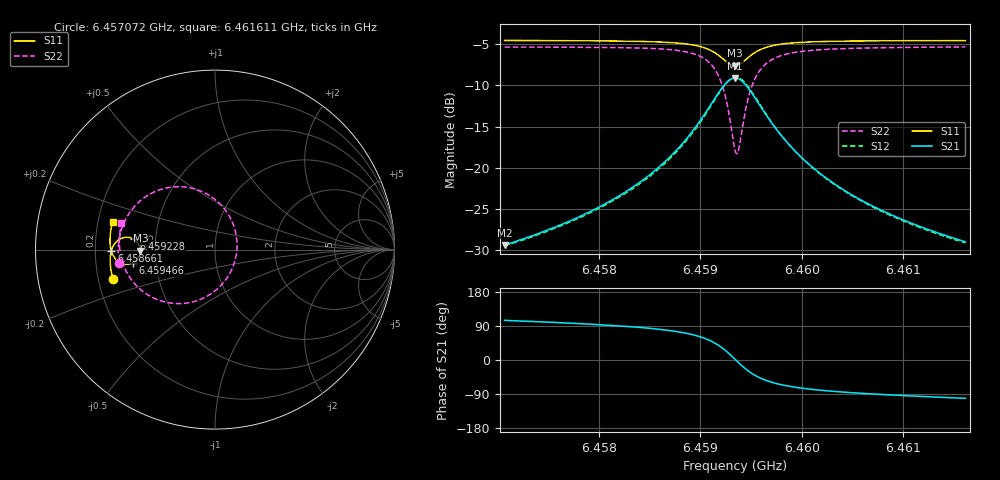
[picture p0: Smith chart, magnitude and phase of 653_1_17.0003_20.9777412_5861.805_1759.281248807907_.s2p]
#  HZ  S  RI  R  50.00
! Rohde & Schwarz Vector Network Analyzer
! Rohde-Schwarz,ZNB20-2Port,1311601062101988,3.16
! Created: UTC 3/20/2024, 11:21:19 PM
! freq[Hz]  re:S11  im:S11  re:S21  im:S21  re:S12  im:S12  re:S22  im:S22
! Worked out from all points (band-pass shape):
!   401 points, 6.457072 GHz to 6.461611 GHz, reference 50 ohm
!   highest |S21| = -9.10 dB at 6.459341 GHz (marker M1); lowest = -29.3 dB at 6.457072 GHz (marker M2)
!   |S21| within 3 dB of the highest: 6.459115 GHz to 6.459569 GHz (453.9 kHz wide, 0.00703 % of centre)
!   lowest |S11| = -7.6 dB at 6.459341 GHz (marker M3), VSWR 2.42, Z = 20.6 - j0.304 ohm
!   |S11| at or under -10 dB: nowhere
!   |S22| runs from -18.3 to -5.3 dB; largest |S21 - S12| = 0.014
!   S11 on the Smith chart (normalised r, x): 6.457072 GHz: 0.26, -0.13; 6.458661 GHz: 0.27, -0.00; 6.459228 GHz: 0.38, +0.05; 6.459466 GHz: 0.37, -0.07; 6.461611 GHz: 0.26, +0.12
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6.4570721e9  -0.5688 -0.1649  -0.00869 0.0331  -0.0067 0.0329  -0.5344 -0.0762
6.4578323e9  -0.5818 -0.098  -0.00506 0.0511  -0.00248 0.0506  -0.5385 0.0139
6.4582408e9  -0.5842 -0.0569  0.000892 0.0702  0.00411 0.0687  -0.5298 0.0791
6.4585926e9  -0.5798 -0.0146  0.0155 0.1  0.0194 0.0971  -0.5026 0.1592
6.4586607e9  -0.5774 -0.00523  0.0209 0.1083  0.0251 0.1051  -0.4922 0.1793
6.4588536e9  -0.5645 0.0252  0.0482 0.1396  0.0522 0.1343  -0.4411 0.2486
6.4590011e9  -0.5414 0.0514  0.0941 0.1698  0.0973 0.163  -0.356 0.3127
6.4591372e9  -0.4969 0.0685  0.1825 0.186  0.1832 0.1785  -0.1945 0.3504
6.459228e9  -0.4519 0.0578  0.273 0.1539  0.2733 0.1481  -0.0263 0.2984
6.4592961e9  -0.4227 0.0254  0.334 0.0809  0.3362 0.0758  0.0903 0.1668
6.4593415e9  -0.4157 -0.00609  0.3506 0.0121  0.3542 0.00525  0.1228 0.0376
6.4593755e9  -0.4196 -0.0301  0.3443 -0.0412  0.3485 -0.0502  0.1107 -0.0636
6.4594209e9  -0.4356 -0.0566  0.3153 -0.1018  0.3176 -0.1139  0.0518 -0.1787
6.4594663e9  -0.4579 -0.0733  0.2723 -0.1434  0.2716 -0.157  -0.0354 -0.2549
6.4595117e9  -0.4813 -0.0803  0.2271 -0.1659  0.2231 -0.1793  -0.1266 -0.2919
6.4595684e9  -0.5066 -0.0796  0.1767 -0.1752  0.1699 -0.1868  -0.2261 -0.3002
6.4597046e9  -0.5465 -0.0595  0.0964 -0.1598  0.0877 -0.1663  -0.3786 -0.2494
6.4598635e9  -0.5681 -0.0317  0.0512 -0.1312  0.0434 -0.134  -0.4599 -0.1753
6.4601017e9  -0.5809 0.00393  0.0218 -0.0989  0.0159 -0.0994  -0.5079 -0.0916
6.4604648e9  -0.5853 0.0473  0.00512 -0.0702  0.00116 -0.0697  -0.5296 -0.00727
6.460862e9  -0.5832 0.0872  -0.00192 -0.0527  -0.00481 -0.0517  -0.5329 0.0569
6.4616109e9  -0.5708 0.1537  -0.00696 -0.035  -0.00848 -0.0341  -0.5211 0.1462
